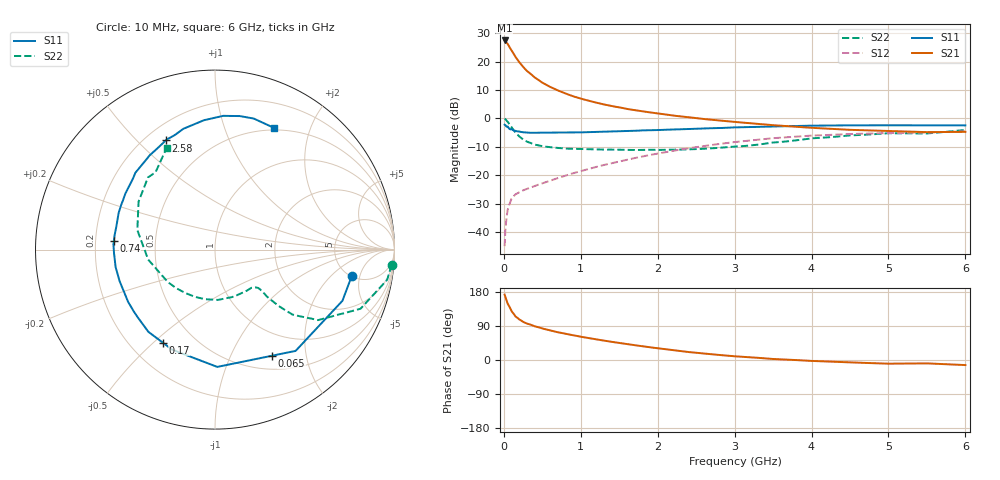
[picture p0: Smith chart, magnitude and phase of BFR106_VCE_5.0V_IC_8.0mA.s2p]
! Infineon Technologies  Discrete & RF Semiconductors
! BFR106
! VCE =  5.0 V,  IC =  8.0 mA
! Common Emitter S-Parameters:  Nov 2015
# GHz  S  MA  R  50
!  f  S11  S21  S12  S22
! GHz  MAG  ANG  MAG  ANG  MAG  ANG  MAG  ANG
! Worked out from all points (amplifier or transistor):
!   210 points, 10 MHz to 6 GHz, reference 50 ohm
!   highest |S21| = 27.5 dB at 10 MHz (marker M1)
!   |S21| within 3 dB of that: start of sweep to 88.3 MHz
!   unconditionally stable (mu >= 1): 537.2 MHz to 1.975 GHz; 5.158 GHz to end of sweep
!   at 185 MHz: K = 0.50, MSG = 23.3 dB, |S12| = -26.2 dB
!   at 1.52 GHz: K = 1.08, MAG = 7.7 dB, |S12| = -15.0 dB
!   at 6 GHz: K = 1.01, MAG = -0.8 dB, |S12| = -4.5 dB
!   S11 on the Smith chart (normalised r, x): 10 MHz: 5.09, -3.76; 65 MHz: 0.67, -1.45; 170 MHz: 0.33, -0.53; 740 MHz: 0.28, +0.04; 2.58 GHz: 0.28, +0.61; 6 GHz: 0.47, +1.49
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0.01  0.7761 -10.9  23.72 172.5  0.0056 86.9  0.9876 -4.9
0.02  0.7651 -21.9  23.32 166.5  0.0107 81.6  0.9742 -9.9
0.05  0.7213 -51.5  20.58 148.6  0.0246 66.1  0.8753 -22.1
0.065  0.6714 -61.7  18.96 143.7  0.0286 60.9  0.8178 -25.2
0.1  0.6537 -88.9  15.9 128.6  0.0384 53.2  0.6956 -34.4
0.15  0.6065 -113.2  12.22 115.1  0.0458 46.5  0.5633 -40.0
0.17  0.5943 -119.4  11.24 112.3  0.0475 45.8  0.5312 -40.5
0.2  0.5896 -129.0  9.838 107.1  0.05 44.9  0.4831 -41.4
0.24  0.5727 -138.5  8.446 102.1  0.0532 44.7  0.4363 -41.8
0.3  0.5649 -149.0  6.889 96.2  0.0574 45.7  0.3907 -42.1
0.4  0.5598 -161.7  5.296 89.1  0.0644 48.4  0.3464 -41.4
0.5  0.5623 -170.1  4.272 83.1  0.0716 51.5  0.3234 -41.5
0.6  0.5628 -177.1  3.61 77.9  0.0797 54.2  0.3111 -42.6
0.74  0.566 175.2  2.975 71.8  0.0925 57.2  0.2988 -45.3
1.02  0.5692 162.5  2.199 60.7  0.1197 60.9  0.2895 -52.1
1.4  0.5878 148.8  1.652 48.0  0.1623 62.5  0.2826 -65.3
2.02  0.6254 129.7  1.211 30.4  0.2433 59.2  0.279 -92.8
2.58  0.6673 114.3  0.984 17.5  0.3233 52.6  0.2913 -122.2
3.1  0.6996 102.7  0.846 8.5  0.3956 44.1  0.3247 -151.3
4.1  0.7477 85.1  0.673 -3.1  0.5044 26.1  0.4536 162.0
5.1  0.7595 72.5  0.594 -9.5  0.5549 10.3  0.5473 131.8
6  0.7538 64.1  0.58 -13.4  0.5946 -1.0  0.6268 115.5
